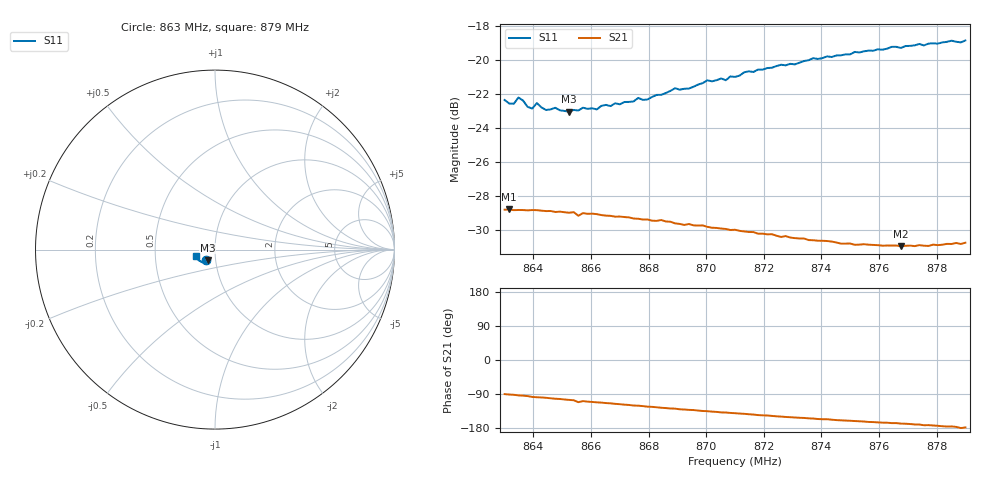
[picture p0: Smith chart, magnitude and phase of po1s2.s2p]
# HZ S RI R 50
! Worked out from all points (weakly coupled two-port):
!   101 points, 863 MHz to 879 MHz, reference 50 ohm
!   highest |S21| = -28.79 dB at 863.16 MHz (marker M1); lowest = -30.9 dB at 876.76 MHz (marker M2)
!   lowest |S11| = -23.0 dB at 865.24 MHz (marker M3), VSWR 1.15, Z = 45.9 - j5.36 ohm
!   |S11| at or under -10 dB: start of sweep to end of sweep
!   S12 and S22 are empty: the file has one direction only
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8.63e8  -0.0478 -0.0595  3.3e-05 -0.0363  0 0  0 0
8.6316e8  -0.0454 -0.059  -0.000728 -0.0363  0 0  0 0
8.6332e8  -0.045 -0.0592  -0.00112 -0.0362  0 0  0 0
8.6348e8  -0.048 -0.0609  -0.00216 -0.0362  0 0  0 0
8.6396e8  -0.0435 -0.0574  -0.00474 -0.0359  0 0  0 0
8.6412e8  -0.0456 -0.0592  -0.00519 -0.0358  0 0  0 0
8.6444e8  -0.0415 -0.058  -0.00608 -0.0354  0 0  0 0
8.6476e8  -0.0415 -0.0593  -0.00759 -0.0349  0 0  0 0
8.6524e8  -0.0398 -0.0582  -0.00936 -0.0343  0 0  0 0
8.6556e8  -0.0392 -0.0592  -0.0127 -0.0324  0 0  0 0
8.6572e8  -0.0373 -0.0621  -0.0112 -0.0336  0 0  0 0
8.662e8  -0.0388 -0.0601  -0.013 -0.0327  0 0  0 0
8.6636e8  -0.0393 -0.0619  -0.0134 -0.0323  0 0  0 0
8.6844e8  -0.0417 -0.0671  -0.0199 -0.0274  0 0  0 0
8.7004e8  -0.0495 -0.0717  -0.0229 -0.0228  0 0  0 0
8.71e8  -0.0533 -0.0715  -0.0244 -0.0202  0 0  0 0
8.7132e8  -0.0558 -0.0732  -0.0247 -0.0193  0 0  0 0
8.7308e8  -0.0673 -0.07  -0.0264 -0.0142  0 0  0 0
8.7372e8  -0.0727 -0.0705  -0.0266 -0.0127  0 0  0 0
8.7644e8  -0.0934 -0.0567  -0.0277 -0.00664  0 0  0 0
8.7676e8  -0.0941 -0.054  -0.0277 -0.00599  0 0  0 0
8.79e8  -0.1085 -0.0353  -0.029 -0.000995  0 0  0 0
